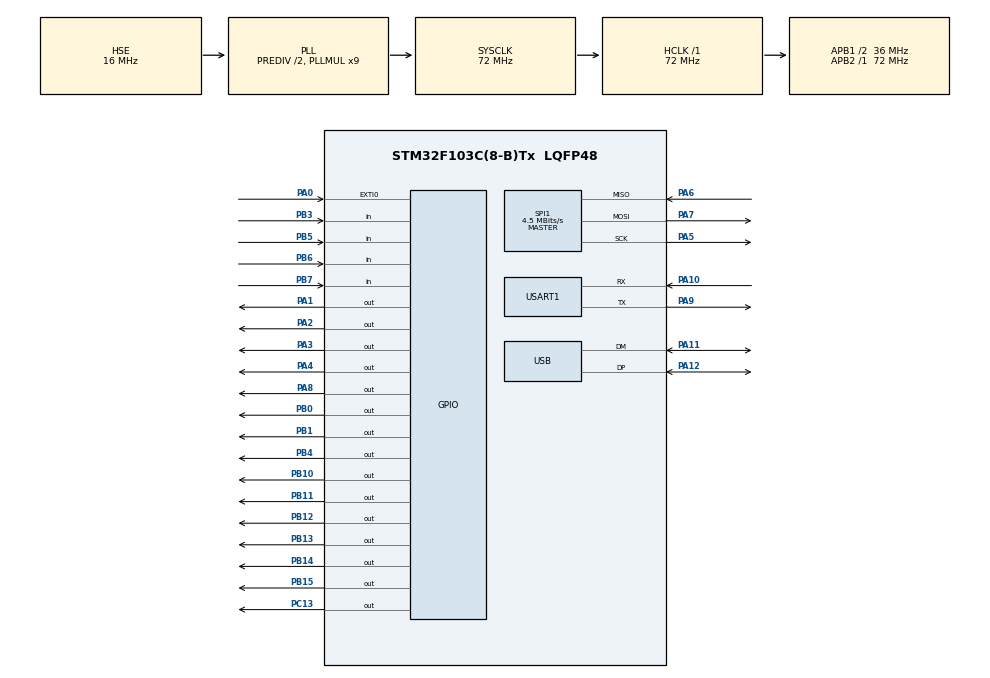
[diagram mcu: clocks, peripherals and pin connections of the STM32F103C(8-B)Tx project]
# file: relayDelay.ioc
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Mcu.Family=STM32F1
Mcu.Name=STM32F103C(8-B)Tx
Mcu.Package=LQFP48
NVIC.EXTI0_IRQn=true\:0\:0\:false\:false\:true\:true\:true\:true
NVIC.PriorityGroup=NVIC_PRIORITYGROUP_4
NVIC.USB_LP_CAN1_RX0_IRQn=true\:0\:0\:false\:false\:true\:false\:true\:true
PA0-WKUP.GPIO_PuPd=GPIO_PULLUP
PA0-WKUP.Signal=GPXTI0
PA1.Signal=GPIO_Output
PA10.Mode=Asynchronous
PA10.Signal=USART1_RX
PA11.Mode=Device
PA11.Signal=USB_DM
PA12.Mode=Device
PA12.Signal=USB_DP
PA13.Mode=Serial_Wire
PA13.Signal=SYS_JTMS-SWDIO
PA14.Mode=Serial_Wire
PA14.Signal=SYS_JTCK-SWCLK
PA2.Signal=GPIO_Output
PA3.Signal=GPIO_Output
PA4.Signal=GPIO_Output
PA5.Mode=Full_Duplex_Master
PA5.Signal=SPI1_SCK
PA6.Mode=Full_Duplex_Master
PA6.Signal=SPI1_MISO
PA7.Mode=Full_Duplex_Master
PA7.Signal=SPI1_MOSI
PA8.Signal=GPIO_Output
PA9.Mode=Asynchronous
PA9.Signal=USART1_TX
PB0.Signal=GPIO_Output
PB1.Signal=GPIO_Output
PB10.Signal=GPIO_Output
PB11.Signal=GPIO_Output
PB12.Signal=GPIO_Output
PB13.Signal=GPIO_Output
PB14.GPIO_PuPd=GPIO_NOPULL
PB14.Signal=GPIO_Output
PB15.Signal=GPIO_Output
PB3.GPIO_PuPd=GPIO_PULLUP
PB3.Signal=GPIO_Input
PB4.Signal=GPIO_Output
PB5.Signal=GPIO_Input
PB6.Signal=GPIO_Input
PB7.Signal=GPIO_Input
PC13-TAMPER-RTC.Signal=GPIO_Output
PD0-OSC_IN.Mode=HSE-External-Oscillator
PD0-OSC_IN.Signal=RCC_OSC_IN
PD1-OSC_OUT.Mode=HSE-External-Oscillator
PD1-OSC_OUT.Signal=RCC_OSC_OUT
ProjectManager.HeapSize=0x200
ProjectManager.StackSize=0x400
ProjectManager.TargetToolchain=STM32CubeIDE
RCC.AHBFreq_Value=72000000
RCC.APB1CLKDivider=RCC_HCLK_DIV2
RCC.APB1Freq_Value=36000000
RCC.APB1TimFreq_Value=72000000
RCC.APB2Freq_Value=72000000
RCC.APB2TimFreq_Value=72000000
RCC.HCLKFreq_Value=72000000
RCC.HSEDivPLL=RCC_HSE_PREDIV_DIV2
RCC.HSE_VALUE=16000000
RCC.PLLMUL=RCC_PLL_MUL9
RCC.SYSCLKFreq_VALUE=72000000
RCC.SYSCLKSource=RCC_SYSCLKSOURCE_PLLCLK
RCC.USBFreq_Value=48000000
RCC.USBPrescaler=RCC_USBCLKSOURCE_PLL_DIV1_5
SPI1.BaudRatePrescaler=SPI_BAUDRATEPRESCALER_16
SPI1.CalculateBaudRate=4.5 MBits/s
SPI1.Direction=SPI_DIRECTION_2LINES
SPI1.Mode=SPI_MODE_MASTER
SPI1.VirtualType=VM_MASTER
USART1.VirtualMode=VM_ASYNC
USB_DEVICE.CLASS_NAME_FS=CDC
USB_DEVICE.VirtualMode=Cdc
USB_DEVICE.VirtualModeFS=Cdc_FS
VP_USB_DEVICE_VS_USB_DEVICE_CDC_FS.Mode=CDC_FS
board=custom

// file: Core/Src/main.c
/* USER CODE BEGIN Header */
/**
  ******************************************************************************
  * @file           : main.c
  * @brief          : Main program body
  ******************************************************************************
  * @attention
  *
  * Copyright (c) 2023 STMicroelectronics.
  * All rights reserved.
  *
  * This software is licensed under terms that can be found in the LICENSE file
  * in the root directory of this software component.
  * If no LICENSE file comes with this software, it is provided AS-IS.
  *
  ******************************************************************************
  */
/* USER CODE END Header */
#include "main.h"
#include "usb_device.h"

/* USER CODE BEGIN Includes */
#include "usbd_cdc_if.h"
#include "bme280.h"
#include <stdio.h>
#include <stdbool.h>
/* USER CODE END Includes */

/* USER CODE BEGIN PD */
#define IDLE_STATE				0		//startup not pre-charged
#define DRIVE_STATE				1		//post charged DSC and CHG EN
#define CHARGE_STATE			2		//DSC disabled, CHARGE_DETECTED true
#define FAULT_STATE				3		//DSC CH disabled

#define DRIVE_GOOD				1
#define DRIVE_FAULT				254
#define CHG_GOOD				2
#define CHG_COMPLETE			3
#define CHG_FAULT				255

#define RELAY_HIGH 				GPIO_PIN_15
#define RELAY_LOW 				GPIO_PIN_14
#define RELAY_PRECHARGE 		GPIO_PIN_12
#define RELAY_CHARGE 			GPIO_PIN_11
#define LED_PIN 				GPIO_PIN_13
#define RELAY_BUS 				GPIOB
#define LED_BUS 				GPIOC

//input pins from BMS and Antisafe
#define ANTISAFE_PIN			GPIO_PIN_3 //antisafe button PB3 pulled up
#define CH_EN 					GPIO_PIN_5 //charge enable pin PB5
#define DSC_EN 					GPIO_PIN_6 //discharge enable pin PB6
#define SP_EN 					GPIO_PIN_7 //spare enable pin PB7
#define EN_INPUT_BUS 			GPIOB

#define HEATER_EN				GPIO_PIN_1
#define MOTOR_FAN_EN			GPIO_PIN_2
#define SPARE_HV_EN				GPIO_PIN_3
#define MOTOR_FAN_EN_BUS		GPIOA

#define PRECHARGE_DURATION 		5000
#define RELAY_DELAY 			1000

#define BME280_SPI_CS_PIN   	GPIO_PIN_8 // PA8
#define BME280_SPI_CS_PORT  	GPIOA      //

#define ADE7912_SPI_CS_PIN  	GPIO_PIN_4 // PA4
#define ADE7912_SPI_CS_PORT   	GPIOA      //

#define RS485DR_PIN				GPIO_PIN_4 //pb4
#define RS485DR_PORT	 		GPIOB
/* USER CODE END PD */

SPI_HandleTypeDef hspi1;

UART_HandleTypeDef huart1;

/* USER CODE BEGIN PV */

//uint8_t OUTPUT_BOOL = 0;
typedef struct {
    bool chargeEnabled;
    bool dischargeEnabled;
    bool chargerDetected;
    bool antisafeEnabled;

    bool relayHigh;
    bool relayLow;
    bool relayPC;
    bool relayCHG;
} InputData;

uint8_t currentState = IDLE_STATE;
uint8_t status = 0;
uint8_t prechargeFlag = 0;
uint8_t relay_sequence = 0;
/* USER CODE END PV */

void SystemClock_Config(void);
static void MX_GPIO_Init(void);
static void MX_SPI1_Init(void);
static void MX_USART1_UART_Init(void);
/* USER CODE BEGIN PFP */

// Read PMB input states and create boolean struct plus debounce
InputData readInputs(void) {
    InputData data;
    // Read for chargeEnabled
    if(HAL_GPIO_ReadPin(EN_INPUT_BUS, CH_EN) == false) { //if PB5 CH_EN low
			data.chargeEnabled = true;
	}
	else{
		data.chargeEnabled = false;
	}

    // Read for dischargeEnabled
    if(HAL_GPIO_ReadPin(EN_INPUT_BUS, DSC_EN) == false) { //if PB6 DSC_EN low
			data.dischargeEnabled = true;
	}
	else{
		data.dischargeEnabled = false;
	}

    // Read for chargerDetected
    if(HAL_GPIO_ReadPin(EN_INPUT_BUS, SP_EN) == false) { //if SP_EN PB7 is low  (charger detected)
            data.chargerDetected = true;
    }
    else{
    	data.chargerDetected = false;
    }

    // Read for antisafeEnabled
    if(HAL_GPIO_ReadPin(EN_INPUT_BUS, ANTISAFE_PIN) == false){ //if PB3 antisafe is low
        data.antisafeEnabled = true;
	}
	else{
		data.antisafeEnabled = false;
	}

    // Read Relays
    data.relayHigh = HAL_GPIO_ReadPin(RELAY_BUS, RELAY_HIGH); //output state relay high
    data.relayLow = HAL_GPIO_ReadPin(RELAY_BUS, RELAY_LOW); //output state relay low
    data.relayPC = HAL_GPIO_ReadPin(RELAY_BUS, RELAY_PRECHARGE); //output state relay pre-charge
    data.relayCHG = HAL_GPIO_ReadPin(RELAY_BUS, RELAY_CHARGE); //output state relay charge

    return data;
}

void allRelayOff(void){
	HAL_GPIO_WritePin(RELAY_BUS, RELAY_LOW, RESET); //turn off negative relay
	HAL_GPIO_WritePin(RELAY_BUS, RELAY_HIGH, RESET); //turn off positive relay
	HAL_GPIO_WritePin(RELAY_BUS, RELAY_CHARGE, RESET); //turn off charge relay
	HAL_GPIO_WritePin(RELAY_BUS, RELAY_PRECHARGE, RESET); //turn off precharge relay
//	HAL_GPIO_WritePin(RELAY_BUS, GPIO_PIN_0, RESET); //
//	HAL_GPIO_WritePin(RELAY_BUS, GPIO_PIN_1, RESET); //
//	HAL_GPIO_WritePin(RELAY_BUS, GPIO_PIN_10, RESET); //
//	HAL_GPIO_WritePin(RELAY_BUS, GPIO_PIN_11, RESET); //
}

void allRelayOn(void){
	HAL_GPIO_WritePin(RELAY_BUS, RELAY_LOW, SET); //turn off negative relay
	HAL_GPIO_WritePin(RELAY_BUS, RELAY_HIGH, SET); //turn off positive relay
	HAL_GPIO_WritePin(RELAY_BUS, RELAY_CHARGE, SET); //turn off charge relay
	HAL_GPIO_WritePin(RELAY_BUS, RELAY_PRECHARGE, SET); //turn off precharge relay
//	HAL_GPIO_WritePin(RELAY_BUS, GPIO_PIN_0, SET); //
//	HAL_GPIO_WritePin(RELAY_BUS, GPIO_PIN_1, SET); //
//	HAL_GPIO_WritePin(RELAY_BUS, GPIO_PIN_10, SET); //
//	HAL_GPIO_WritePin(RELAY_BUS, GPIO_PIN_11, SET); //
}

void sendUSB_BMS_state(void){
	InputData data = readInputs();
	uint8_t buffer[128] = {0}; // Initialize to zeros
	int length = snprintf((char *)buffer, sizeof(buffer),
						  "CH_EN: %s, "
						  "DSC_EN: %s, "
						  "CH_DET: %s, "
						  "ASAFE: %s, "
						  "Mode: %d, "
						  "Status: %d\r\n",
						  data.chargeEnabled ? "true" : "false",
						  data.dischargeEnabled ? "true" : "false",
						  data.chargerDetected ? "true" : "false",
						  data.antisafeEnabled ? "true" : "false",
						  currentState, status);  // Adding the status variable here

	CDC_Transmit_FS(buffer, length);  // Use length here
}

void sendUSB_Relay_State(void){
	InputData data = readInputs();
	uint8_t buffer[128] = {0}; // Initialize to zeros
	int length = snprintf((char *)buffer, sizeof(buffer),
						  "RELAY OUTPUT| POS: %s, "
						  "NEG: %s, "
						  "PreCharge: %s, "
						  "CHARGE: %s\r\n",
						  data.relayHigh ? "EN" : "DIS",
						  data.relayLow ? "EN" : "DIS",
						  data.relayPC ? "EN" : "DIS",
						  data.relayCHG ? "EN" : "DIS"
						  );

	CDC_Transmit_FS(buffer, length);  // Use length here
}

void serialPrintln(const char *str) {
    uint8_t buffer[128];  // Make sure this buffer is large enough for your messages
    int length = snprintf((char *)buffer, sizeof(buffer), "%s\n", str);

    if (length > 0) {
        CDC_Transmit_FS(buffer, length);
    }
}
/* USER CODE END PFP */

int main(void)
{

  /* MCU Configuration--------------------------------------------------------*/

  /* Reset of all peripherals, Initializes the Flash interface and the Systick. */
  HAL_Init();

  /* Configure the system clock */
  SystemClock_Config();

  /* Initialize all configured peripherals */
  MX_GPIO_Init();
  MX_SPI1_Init();
  MX_USART1_UART_Init();
  MX_USB_DEVICE_Init();

  /* Infinite loop */
  /* USER CODE BEGIN WHILE */
  while (1)
  {

	  //0.1s loop 10Hz
	  static int i = 0;
	  i = 0;

	  while(currentState == IDLE_STATE && i < 10){
		  HAL_Delay(100);
		  InputData data = readInputs();
		  if(data.chargeEnabled && data.dischargeEnabled && !data.chargerDetected){
			  currentState = DRIVE_STATE;
			  serialPrintln("Drive STATE");
			  relay_sequence = 1; //begin startup sequence
			  i = 0;
			  break;
		  }
		  if(data.chargerDetected && data.chargeEnabled){
			  currentState = CHARGE_STATE;
			  serialPrintln("Charge STATE");
			  relay_sequence = 1; //begin startup sequence
			  i = 0;
			  break;
		  }
		  else{
			  currentState = IDLE_STATE;
			  serialPrintln("IDLE STATE");
			  i = 0;
		  }
		  i++;

	  }
	  if(currentState == DRIVE_STATE && relay_sequence == 1){
		  InputData data = readInputs();
		  if(data.chargeEnabled && data.dischargeEnabled){
			  HAL_GPIO_WritePin(RELAY_BUS, RELAY_LOW, SET); //turn on lower relay
			  serialPrintln("NEG Contact Engaged");
			  sendUSB_Relay_State();
			  HAL_Delay(100);
		  }
		  else{
			  allRelayOff();
			  status = DRIVE_FAULT;
			  //break;
		  }
		  data = readInputs();
		  if(data.chargeEnabled && data.dischargeEnabled){
			  HAL_GPIO_WritePin(RELAY_BUS, RELAY_PRECHARGE, SET); //turn on Precharge
			  serialPrintln("Precharging");
			  sendUSB_Relay_State();
			  HAL_Delay(100);
		  }
		  else{
			  allRelayOff();
			  status = DRIVE_FAULT;
			  break;
		  }
		  data = readInputs();
		  if(data.chargeEnabled && data.dischargeEnabled){
			  HAL_Delay(PRECHARGE_DURATION); //wait for precharge
			  serialPrintln("Wait 5000ms");
			  sendUSB_Relay_State();
		  }
		  else{
			  allRelayOff();
			  status = DRIVE_FAULT;
			  break;
		  }
		  data = readInputs();
		  if(data.chargeEnabled && data.dischargeEnabled){
			  HAL_GPIO_WritePin(RELAY_BUS, RELAY_HIGH, SET); //turn on POS contactor
			  HAL_Delay(100);
			  HAL_GPIO_WritePin(RELAY_BUS, RELAY_PRECHARGE, RESET); //turn off Precharge
			  serialPrintln("POS Contact Engaged");
			  sendUSB_Relay_State();
			  HAL_Delay(100);
		  }
		  else{
			  allRelayOff();
			  status = DRIVE_FAULT;
			  break;
		  }
		  data = readInputs();
		  if(data.chargeEnabled && data.dischargeEnabled){
			  serialPrintln("Startup Sequence Complete");
			  sendUSB_Relay_State();
			  HAL_Delay(100);
		  }
		  else{
			  allRelayOff();
			  status = DRIVE_FAULT;
			  break;
		  }
		  relay_sequence = 0;
	  }

	  if(currentState == CHARGE_STATE && relay_sequence == 1){
	  		  InputData data = readInputs();
	  		  if(data.chargeEnabled && data.chargerDetected){
	  			  HAL_GPIO_WritePin(RELAY_BUS, RELAY_LOW, SET); //turn on lower relay
	  			  serialPrintln("NEG Contact Engaged");
	  			  sendUSB_Relay_State();
	  			  HAL_Delay(100);
	  		  }
	  		  else{
	  			  allRelayOff();
	  			  status = CHG_FAULT;
	  			  break;
	  		  }

	  		  data = readInputs();
	  		  if(data.chargeEnabled && data.chargerDetected){
	  			  HAL_GPIO_WritePin(RELAY_BUS, RELAY_CHARGE, SET); //turn on charge relay
	  			  serialPrintln("CHG Relay Engaged");
	  			  sendUSB_Relay_State();
	  			  HAL_Delay(100);
	  		  }
	  		  else{
	  			  allRelayOff();
	  			  status = CHG_FAULT;
	  			  break;
	  		  }

	  		  data = readInputs();
			  if(data.chargeEnabled && data.chargerDetected){
				  serialPrintln("Charging Sequence Complete");
				  sendUSB_Relay_State();
				  HAL_Delay(100);
			  }
			  else{
				  allRelayOff();
				  status = CHG_FAULT;
				  break;
			  }

	  		  relay_sequence = 0;
	  }
	  InputData data = readInputs();

	  //currentState = updateState();
	  if(currentState == DRIVE_STATE){
		  if(!(data.chargeEnabled && data.dischargeEnabled)){
			  allRelayOff();
			  status = DRIVE_FAULT;
			  serialPrintln("Drive Fault");
		  }
		  else{
			  status = DRIVE_GOOD;
		  }
	  }

	  if(currentState == CHARGE_STATE){
		  if(!data.chargeEnabled){ //charge disabled by BMS
			  allRelayOff(); //shutdown
			  status = CHG_FAULT;
			  serialPrintln("CHG Fault");
		  }
		  if(!data.chargerDetected && data.chargeEnabled){ //done charging or unplugged but not fault
			  allRelayOff(); //turn off all relays
			  status = CHG_COMPLETE;
		  }
		  else{
			  status = CHG_GOOD;
		  }
	  }

	  if(currentState == CHG_COMPLETE){
		  currentState = IDLE_STATE; //back to startup
	  }

	  if(status == CHG_FAULT || status == DRIVE_FAULT){ //if in fault state
		  allRelayOff();
		  HAL_Delay(5000); //wait 5000ms
		  InputData data = readInputs(); //read the BMS states
		  if(data.chargeEnabled && data.dischargeEnabled){ //if everything is good
			  currentState = IDLE_STATE; //back to startup
			  status = DRIVE_GOOD;
		  }

	  }

	  if(i%10 == 0){
		  sendUSB_BMS_state();
		  sendUSB_Relay_State();
	  }
	  else{

	  }

	  i++;

	  HAL_Delay(100);
	  HAL_GPIO_TogglePin(LED_BUS, LED_PIN);

    /* USER CODE END WHILE */

  }
}

void SystemClock_Config(void)
{
  RCC_OscInitTypeDef RCC_OscInitStruct = {0};
  RCC_ClkInitTypeDef RCC_ClkInitStruct = {0};
  RCC_PeriphCLKInitTypeDef PeriphClkInit = {0};

  /** Initializes the RCC Oscillators according to the specified parameters
  * in the RCC_OscInitTypeDef structure.
  */
  RCC_OscInitStruct.OscillatorType = RCC_OSCILLATORTYPE_HSE;
  RCC_OscInitStruct.HSEState = RCC_HSE_ON;
  RCC_OscInitStruct.HSEPredivValue = RCC_HSE_PREDIV_DIV2;
  RCC_OscInitStruct.HSIState = RCC_HSI_ON;
  RCC_OscInitStruct.PLL.PLLState = RCC_PLL_ON;
  RCC_OscInitStruct.PLL.PLLSource = RCC_PLLSOURCE_HSE;
  RCC_OscInitStruct.PLL.PLLMUL = RCC_PLL_MUL9;
  if (HAL_RCC_OscConfig(&RCC_OscInitStruct) != HAL_OK)
  {
    Error_Handler();
  }

  /** Initializes the CPU, AHB and APB buses clocks
  */
  RCC_ClkInitStruct.ClockType = RCC_CLOCKTYPE_HCLK|RCC_CLOCKTYPE_SYSCLK
                              |RCC_CLOCKTYPE_PCLK1|RCC_CLOCKTYPE_PCLK2;
  RCC_ClkInitStruct.SYSCLKSource = RCC_SYSCLKSOURCE_PLLCLK;
  RCC_ClkInitStruct.AHBCLKDivider = RCC_SYSCLK_DIV1;
  RCC_ClkInitStruct.APB1CLKDivider = RCC_HCLK_DIV2;
  RCC_ClkInitStruct.APB2CLKDivider = RCC_HCLK_DIV1;

  if (HAL_RCC_ClockConfig(&RCC_ClkInitStruct, FLASH_LATENCY_2) != HAL_OK)
  {
    Error_Handler();
  }
  PeriphClkInit.PeriphClockSelection = RCC_PERIPHCLK_USB;
  PeriphClkInit.UsbClockSelection = RCC_USBCLKSOURCE_PLL_DIV1_5;
  if (HAL_RCCEx_PeriphCLKConfig(&PeriphClkInit) != HAL_OK)
  {
    Error_Handler();
  }
}

static void MX_SPI1_Init(void)
{

  /* SPI1 parameter configuration*/
  hspi1.Instance = SPI1;
  hspi1.Init.Mode = SPI_MODE_MASTER;
  hspi1.Init.Direction = SPI_DIRECTION_2LINES;
  hspi1.Init.DataSize = SPI_DATASIZE_8BIT;
  hspi1.Init.CLKPolarity = SPI_POLARITY_LOW;
  hspi1.Init.CLKPhase = SPI_PHASE_1EDGE;
  hspi1.Init.NSS = SPI_NSS_SOFT;
  hspi1.Init.BaudRatePrescaler = SPI_BAUDRATEPRESCALER_16;
  hspi1.Init.FirstBit = SPI_FIRSTBIT_MSB;
  hspi1.Init.TIMode = SPI_TIMODE_DISABLE;
  hspi1.Init.CRCCalculation = SPI_CRCCALCULATION_DISABLE;
  hspi1.Init.CRCPolynomial = 10;
  if (HAL_SPI_Init(&hspi1) != HAL_OK)
  {
    Error_Handler();
  }

}

static void MX_USART1_UART_Init(void)
{

  huart1.Instance = USART1;
  huart1.Init.BaudRate = 115200;
  huart1.Init.WordLength = UART_WORDLENGTH_8B;
  huart1.Init.StopBits = UART_STOPBITS_1;
  huart1.Init.Parity = UART_PARITY_NONE;
  huart1.Init.Mode = UART_MODE_TX_RX;
  huart1.Init.HwFlowCtl = UART_HWCONTROL_NONE;
  huart1.Init.OverSampling = UART_OVERSAMPLING_16;
  if (HAL_UART_Init(&huart1) != HAL_OK)
  {
    Error_Handler();
  }

}

static void MX_GPIO_Init(void)
{
  GPIO_InitTypeDef GPIO_InitStruct = {0};

  /* GPIO Ports Clock Enable */
  __HAL_RCC_GPIOC_CLK_ENABLE();
  __HAL_RCC_GPIOD_CLK_ENABLE();
  __HAL_RCC_GPIOA_CLK_ENABLE();
  __HAL_RCC_GPIOB_CLK_ENABLE();

  /*Configure GPIO pin Output Level */
  HAL_GPIO_WritePin(GPIOC, GPIO_PIN_13, GPIO_PIN_RESET);

  /*Configure GPIO pin Output Level */
  HAL_GPIO_WritePin(GPIOA, GPIO_PIN_1|GPIO_PIN_2|GPIO_PIN_3|GPIO_PIN_4
                          |GPIO_PIN_8, GPIO_PIN_RESET);

  /*Configure GPIO pin Output Level */
  HAL_GPIO_WritePin(GPIOB, GPIO_PIN_0|GPIO_PIN_1|GPIO_PIN_10|GPIO_PIN_11
                          |GPIO_PIN_12|GPIO_PIN_13|GPIO_PIN_14|GPIO_PIN_15
                          |GPIO_PIN_4, GPIO_PIN_RESET);

  /*Configure GPIO pin : PC13 */
  GPIO_InitStruct.Pin = GPIO_PIN_13;
  GPIO_InitStruct.Mode = GPIO_MODE_OUTPUT_PP;
  GPIO_InitStruct.Pull = GPIO_NOPULL;
  GPIO_InitStruct.Speed = GPIO_SPEED_FREQ_LOW;
  HAL_GPIO_Init(GPIOC, &GPIO_InitStruct);

  /*Configure GPIO pin : PA0 */
  GPIO_InitStruct.Pin = GPIO_PIN_0;
  GPIO_InitStruct.Mode = GPIO_MODE_IT_RISING;
  GPIO_InitStruct.Pull = GPIO_PULLUP;
  HAL_GPIO_Init(GPIOA, &GPIO_InitStruct);

  /*Configure GPIO pins : PA1 PA2 PA3 PA4
                           PA8 */
  GPIO_InitStruct.Pin = GPIO_PIN_1|GPIO_PIN_2|GPIO_PIN_3|GPIO_PIN_4
                          |GPIO_PIN_8;
  GPIO_InitStruct.Mode = GPIO_MODE_OUTPUT_PP;
  GPIO_InitStruct.Pull = GPIO_NOPULL;
  GPIO_InitStruct.Speed = GPIO_SPEED_FREQ_LOW;
  HAL_GPIO_Init(GPIOA, &GPIO_InitStruct);

  /*Configure GPIO pins : PB0 PB1 PB10 PB11
                           PB12 PB13 PB14 PB15
                           PB4 */
  GPIO_InitStruct.Pin = GPIO_PIN_0|GPIO_PIN_1|GPIO_PIN_10|GPIO_PIN_11
                          |GPIO_PIN_12|GPIO_PIN_13|GPIO_PIN_14|GPIO_PIN_15
                          |GPIO_PIN_4;
  GPIO_InitStruct.Mode = GPIO_MODE_OUTPUT_PP;
  GPIO_InitStruct.Pull = GPIO_NOPULL;
  GPIO_InitStruct.Speed = GPIO_SPEED_FREQ_LOW;
  HAL_GPIO_Init(GPIOB, &GPIO_InitStruct);

  /*Configure GPIO pin : PB3 */
  GPIO_InitStruct.Pin = GPIO_PIN_3;
  GPIO_InitStruct.Mode = GPIO_MODE_INPUT;
  GPIO_InitStruct.Pull = GPIO_PULLUP;
  HAL_GPIO_Init(GPIOB, &GPIO_InitStruct);

  /*Configure GPIO pins : PB5 PB6 PB7 */
  GPIO_InitStruct.Pin = GPIO_PIN_5|GPIO_PIN_6|GPIO_PIN_7;
  GPIO_InitStruct.Mode = GPIO_MODE_INPUT;
  GPIO_InitStruct.Pull = GPIO_NOPULL;
  HAL_GPIO_Init(GPIOB, &GPIO_InitStruct);

  /* EXTI interrupt init*/
  HAL_NVIC_SetPriority(EXTI0_IRQn, 0, 0);
  HAL_NVIC_EnableIRQ(EXTI0_IRQn);

}

void Error_Handler(void)
{
  __disable_irq();
  while (1)
  {
  }
}
